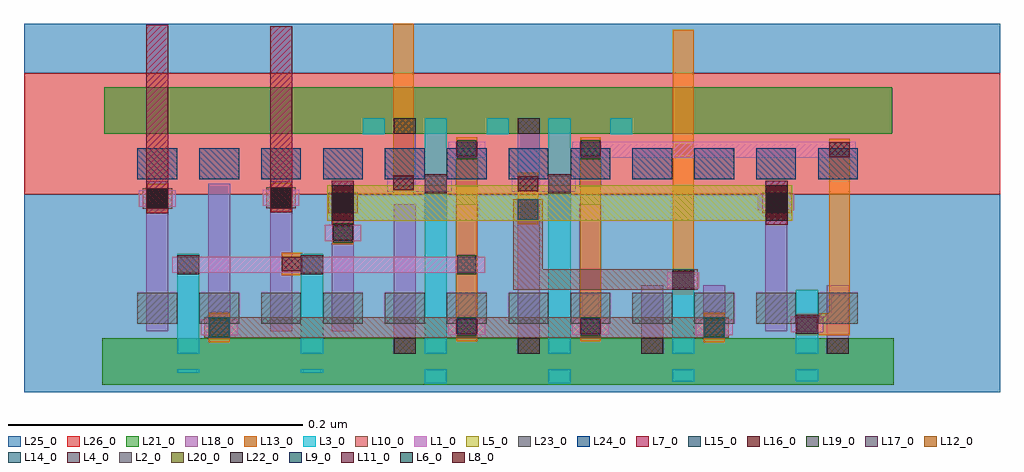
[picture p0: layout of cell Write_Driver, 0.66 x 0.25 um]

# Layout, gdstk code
import gdstk
lib = gdstk.Library(unit=1e-6, precision=2.5e-10)
def R(c, l, rs):  # rectangles x0, y0, x1, y1
    for r in rs: c.add(gdstk.rectangle(r[:2], r[2:], *l))
def A(c, l, x, y, w, h, nx, ny, dx, dy):  # array of equal rectangles
    R(c, l, [(x+i*dx, y+j*dy, x+i*dx+w, y+j*dy+h) for i in range(nx) for j in range(ny)])
def P(c, l, *ps):  # polygons
    for p in ps: c.add(gdstk.Polygon(p, *l))
L1_0 = (1, 0)
L2_0 = (2, 0)
L3_0 = (3, 0)
L4_0 = (4, 0)
L5_0 = (5, 0)
L6_0 = (6, 0)
L7_0 = (7, 0)
L8_0 = (8, 0)
L9_0 = (9, 0)
L10_0 = (10, 0)
L11_0 = (11, 0)
L12_0 = (12, 0)
L13_0 = (13, 0)
L14_0 = (14, 0)
L15_0 = (15, 0)
L16_0 = (16, 0)
L17_0 = (17, 0)
L18_0 = (18, 0)
L19_0 = (19, 0)
L20_0 = (20, 0)
L21_0 = (21, 0)
L22_0 = (22, 0)
L23_0 = (23, 0)
L24_0 = (24, 0)
L25_0 = (25, 0)
L26_0 = (26, 0)

inverter_write_driver = lib.new_cell('inverter_write_driver')
R(inverter_write_driver, L1_0, [(0.016,-0.037,0.041,-0.026), (-0.0035,0.06,0.0185,0.071), (0.016,0.083,0.041,0.094)])
R(inverter_write_driver, L2_0, [(0,0.06,0.015,0.071)])
R(inverter_write_driver, L3_0, [(0,-0.07,0.015,-0.0605), (0,-0.05,0.015,0.11), (-0.042,0.099,-0.027,0.11), (0.042,0.099,0.057,0.11)])
R(inverter_write_driver, L4_0, [(0,0.059,0.015,0.072)])
R(inverter_write_driver, L13_0, [(0.0215,-0.0415,0.0355,0.097)])
R(inverter_write_driver, L15_0, [(0.0215,-0.0365,0.0355,-0.0265), (0.0215,0.084,0.0355,0.094)])
R(inverter_write_driver, L16_0, [(0.0215,-0.0365,0.0355,-0.0265), (0.0215,0.084,0.0355,0.094)])
R(inverter_write_driver, L17_0, [(0.022,-0.037,0.035,-0.026), (0.022,0.083,0.035,0.094)])
R(inverter_write_driver, L18_0, [(-0.021,-0.05,-0.006,0.0515), (0.021,-0.037,0.036,0.0515), (-0.021,0.063,-0.006,0.11), (0.021,0.0635,0.036,0.094)])
R(inverter_write_driver, L19_0, [(0.022,-0.038,0.035,-0.025), (0.022,0.082,0.035,0.095)])
R(inverter_write_driver, L20_0, [(-0.021,-0.05,-0.006,-0.0395), (-0.021,0.0995,-0.006,0.11)])
R(inverter_write_driver, L21_0, [(-0.042,-0.071,0.057,-0.0395), (-0.042,0.0995,0.057,0.131)])
R(inverter_write_driver, L22_0, [(-0.021,-0.05,-0.006,-0.0395), (-0.021,0.0995,-0.006,0.11)])
R(inverter_write_driver, L23_0, [(-0.027,-0.0295,0,-0.0085), (0.015,-0.0295,0.042,-0.0085)])
R(inverter_write_driver, L24_0, [(-0.027,0.0685,0,0.0895), (0.015,0.0685,0.042,0.0895)])
R(inverter_write_driver, L25_0, [(-0.066,-0.076,0.082,0.0585)])
R(inverter_write_driver, L26_0, [(-0.066,0.0585,0.082,0.136)])

write_driver = lib.new_cell('Write_Driver')
R(write_driver, L1_0, [(-0.0245,0.0445,0.0005,0.0555), (0.3115,0.0445,0.3365,0.0555), (0.376,0.0465,0.398,0.0575), (0.292,0.0765,0.314,0.0875), (-0.044,0.087,0.1685,0.098), (0.0595,0.1085,0.0845,0.1195), (0.3535,0.1295,0.3785,0.1405), (-0.0665,0.132,-0.0415,0.143), (0.0175,0.1325,0.0425,0.1435), (0.102,0.142,0.124,0.153), (0.2515,0.165,0.42,0.176)])
P(write_driver, L1_0, [(0.208,0.153),(0.208,0.1525),(0.2085,0.1525),(0.2085,0.1425),(0.208,0.1425),(0.208,0.142),(0.1865,0.142),(0.1865,0.153)])
R(write_driver, L2_0, [(0.3795,0.0465,0.3945,0.0575), (0.2955,0.0765,0.3105,0.0875), (-0.0405,0.087,-0.0255,0.098), (0.0435,0.087,0.0585,0.098)])
A(write_driver, L3_0, 0.0855, 0.181, 0.015, 0.011, 3, 1, 0.084, 0)
R(write_driver, L3_0, [(0.2955,0.013,0.3105,0.0215), (0.3795,0.0135,0.3945,0.0215), (0.1275,0.0185,0.1425,0.0215), (-0.0405,0.019,-0.0255,0.0215), (0.0435,0.019,0.0585,0.0215), (-0.0405,0.032,-0.0255,0.1), (0.0435,0.032,0.0585,0.1), (0.2955,0.032,0.3105,0.0895), (0.3795,0.032,0.3945,0.0755)])
R(write_driver, L4_0, [(0.3795,0.0455,0.3945,0.0585), (0.2955,0.0755,0.3105,0.0885), (-0.0405,0.086,-0.0255,0.099), (0.0435,0.086,0.0585,0.099)])
R(write_driver, L5_0, [(0.0615,0.1225,0.377,0.1465)])
R(write_driver, L6_0, [(0.0645,0.1225,0.0795,0.1465), (0.359,0.1225,0.374,0.1465)])
R(write_driver, L7_0, [(0.0645,0.1195,0.0795,0.1495), (0.359,0.1195,0.374,0.1495), (-0.0615,0.1275,-0.0465,0.2555), (0.0225,0.128,0.0375,0.2545)])
R(write_driver, L8_0, [(0.0645,0.1225,0.0795,0.1465), (0.359,0.1225,0.374,0.1465)])
R(write_driver, L9_0, [(0.065,0.1275,0.079,0.1415), (0.3595,0.1275,0.3735,0.1415), (-0.061,0.1305,-0.047,0.1445), (0.023,0.131,0.037,0.145)])
R(write_driver, L10_0, [(-0.022,0.043,0.334,0.057), (0.062,0.1275,0.082,0.1415), (0.3565,0.1275,0.3765,0.1415), (-0.064,0.1305,-0.044,0.1445), (0.02,0.131,0.04,0.145)])
P(write_driver, L10_0, [(0.2075,0.137),(0.2075,0.0895),(0.313,0.0895),(0.313,0.0755),(0.1875,0.0755),(0.1875,0.137)])
R(write_driver, L11_0, [(0.065,0.1275,0.079,0.1415), (0.3595,0.1275,0.3735,0.1415), (-0.061,0.1305,-0.047,0.1445), (0.023,0.131,0.037,0.145)])
R(write_driver, L12_0, [(-0.019,0.043,-0.005,0.057), (0.317,0.043,0.331,0.057), (0.296,0.0755,0.31,0.0895), (0.1905,0.123,0.2045,0.137), (0.065,0.1275,0.079,0.1415), (0.3595,0.1275,0.3735,0.1415), (-0.061,0.1305,-0.047,0.1445), (0.023,0.131,0.037,0.145)])
R(write_driver, L13_0, [(-0.019,0.04,-0.005,0.06), (0.317,0.04,0.331,0.06), (0.296,0.0725,0.31,0.252), (0.0305,0.0855,0.0445,0.1005), (0.065,0.1065,0.079,0.1445), (0.1905,0.12,0.2045,0.155), (0.3595,0.1245,0.3735,0.1445), (-0.061,0.1275,-0.047,0.1475), (0.023,0.128,0.037,0.148), (0.106,0.1405,0.12,0.256)])
P(write_driver, L13_0, [(0.416,0.178),(0.416,0.0445),(0.38,0.0445),(0.38,0.0595),(0.402,0.0595),(0.402,0.178)])
R(write_driver, L14_0, [(-0.019,0.043,-0.005,0.057), (0.317,0.043,0.331,0.057), (0.296,0.0755,0.31,0.0895), (0.1905,0.123,0.2045,0.137), (0.065,0.1275,0.079,0.1415), (0.3595,0.1275,0.3735,0.1415), (-0.061,0.1305,-0.047,0.1445), (0.023,0.131,0.037,0.145)])
R(write_driver, L15_0, [(-0.019,0.045,-0.005,0.055), (0.317,0.045,0.331,0.055), (0.38,0.047,0.394,0.057), (0.296,0.077,0.31,0.087), (0.0305,0.088,0.0445,0.098), (0.065,0.109,0.079,0.119), (0.3595,0.1295,0.3735,0.1395), (-0.061,0.1325,-0.047,0.1425), (0.023,0.133,0.037,0.143), (0.1905,0.1425,0.2045,0.1525), (0.106,0.143,0.12,0.153), (0.402,0.1655,0.416,0.1755)])
R(write_driver, L16_0, [(-0.019,0.045,-0.005,0.055), (0.317,0.045,0.331,0.055), (0.38,0.047,0.394,0.057), (0.296,0.077,0.31,0.087), (0.0305,0.088,0.0445,0.098), (0.065,0.109,0.079,0.119), (0.3595,0.1295,0.3735,0.1395), (-0.061,0.1325,-0.047,0.1425), (0.023,0.133,0.037,0.143), (0.1905,0.1425,0.2045,0.1525), (0.106,0.143,0.12,0.153), (0.402,0.1655,0.416,0.1755)])
R(write_driver, L17_0, [(-0.0185,0.0445,-0.0055,0.0555), (0.3175,0.0445,0.3305,0.0555), (0.1495,0.087,0.1625,0.098), (0.0655,0.1085,0.0785,0.1195), (0.3595,0.1295,0.3725,0.1405), (-0.0605,0.132,-0.0475,0.143), (0.0235,0.1325,0.0365,0.1435)])
R(write_driver, L18_0, [(0.2745,0.032,0.2895,0.0785), (0.4005,0.032,0.4155,0.0785), (-0.0195,0.043,-0.0045,0.1475), (0.3165,0.0445,0.3315,0.0785), (-0.0615,0.0475,-0.0465,0.149), (0.0225,0.0475,0.0375,0.149), (0.0645,0.0475,0.0795,0.148), (0.3585,0.0475,0.3735,0.1495), (0.1485,0.087,0.1635,0.098)])
R(write_driver, L19_0, [(-0.0185,0.0435,-0.0055,0.0565), (0.3175,0.0435,0.3305,0.0565), (0.1495,0.086,0.1625,0.099), (0.0655,0.1075,0.0785,0.1205), (0.3595,0.1285,0.3725,0.1415), (-0.0605,0.131,-0.0475,0.144), (0.0235,0.1315,0.0365,0.1445)])
R(write_driver, L20_0, [(0.2745,0.032,0.2895,0.0425), (0.4005,0.032,0.4155,0.0425)])
R(write_driver, L21_0, [(-0.0915,0.011,0.0855,0.0425), (0.261,0.011,0.446,0.0425), (-0.09,0.1815,0.0855,0.213), (0.2685,0.1815,0.445,0.213)])
R(write_driver, L22_0, [(0.2745,0.032,0.2895,0.0425), (0.4005,0.032,0.4155,0.0425)])
A(write_driver, L23_0, -0.0675, 0.0525, 0.027, 0.021, 4, 1, 0.042, 0)
A(write_driver, L23_0, 0.2685, 0.0525, 0.027, 0.021, 4, 1, 0.042, 0)
A(write_driver, L24_0, -0.0675, 0.1505, 0.027, 0.021, 4, 1, 0.042, 0)
A(write_driver, L24_0, 0.2685, 0.1505, 0.027, 0.021, 4, 1, 0.042, 0)
R(write_driver, L25_0, [(-0.1445,0.006,0.0615,0.1405), (0.2935,0.006,0.518,0.1405), (-0.1445,0.2225,0.518,0.256)])
P(write_driver, L26_0, [(0.518,0.2225),(0.518,0.1405),(0.2935,0.1405),(0.2935,0.218),(0.0615,0.218),(0.0615,0.1405),(-0.1445,0.1405),(-0.1445,0.2225)])
write_driver.add(gdstk.Reference(inverter_write_driver, (0.2115,0.082)))
write_driver.add(gdstk.Reference(inverter_write_driver, (0.1275,0.082)))

lib.write_gds('Write_Driver.gds')
